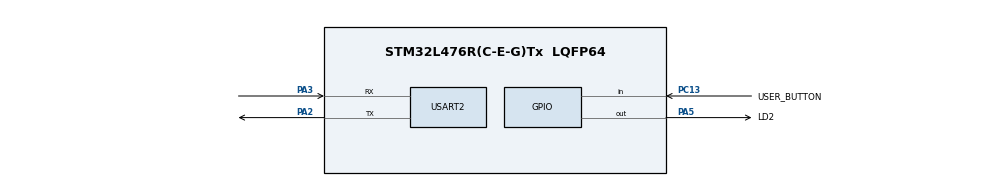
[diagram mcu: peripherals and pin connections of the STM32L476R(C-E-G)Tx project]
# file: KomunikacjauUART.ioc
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Mcu.Family=STM32L4
Mcu.Name=STM32L476R(C-E-G)Tx
Mcu.Package=LQFP64
NVIC.PriorityGroup=NVIC_PRIORITYGROUP_4
PA13\ (JTMS-SWDIO).Mode=Serial_Wire
PA13\ (JTMS-SWDIO).Signal=SYS_JTMS-SWDIO
PA14\ (JTCK-SWCLK).Mode=Serial_Wire
PA14\ (JTCK-SWCLK).Signal=SYS_JTCK-SWCLK
PA2.Mode=Asynchronous
PA2.Signal=USART2_TX
PA3.Mode=Asynchronous
PA3.Signal=USART2_RX
PA5.GPIO_Label=LD2
PA5.GPIO_PuPd=GPIO_PULLUP
PA5.Signal=GPIO_Output
PC13.GPIO_Label=USER_BUTTON
PC13.Signal=GPIO_Input
ProjectManager.HeapSize=0x200
ProjectManager.StackSize=0x400
ProjectManager.TargetToolchain=STM32CubeIDE
RCC.HSE_VALUE=8000000
RCC.HSI_VALUE=16000000
RCC.LSE_VALUE=32768
RCC.MSI_VALUE=4000000
RCC.VCOOutputFreq_Value=32000000
USART2.OverrunDisableParam=ADVFEATURE_OVERRUN_DISABLE
USART2.VirtualMode-Asynchronous=VM_ASYNC
board=custom

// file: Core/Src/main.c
/* USER CODE BEGIN Header */
/**
  ******************************************************************************
  * @file           : main.c
  * @brief          : Main program body
  ******************************************************************************
  * @attention
  *
  * Copyright (c) 2025 STMicroelectronics.
  * All rights reserved.
  *
  * This software is licensed under terms that can be found in the LICENSE file
  * in the root directory of this software component.
  * If no LICENSE file comes with this software, it is provided AS-IS.
  *
  ******************************************************************************
  */
/* USER CODE END Header */
#include "main.h"

/* USER CODE BEGIN Includes */
#include <string.h>
#include <stdio.h>
#include <stdbool.h>
/* USER CODE END Includes */

UART_HandleTypeDef huart2;

void SystemClock_Config(void);
static void MX_GPIO_Init(void);
static void MX_USART2_UART_Init(void);

/* USER CODE BEGIN 0 */
#define LINE_MAX_LENGTH 80

static char line_buffer[LINE_MAX_LENGTH +1];
static uint32_t line_length;
static uint8_t num;

bool is_button_pressed(void)
{
	if(HAL_GPIO_ReadPin(USER_BUTTON_GPIO_Port, USER_BUTTON_Pin) == GPIO_PIN_RESET) {
		return true;
	}
	else {
		return false;
	}
}

void num_iterator(void)
{

		if(is_button_pressed()){
		num++;
		if(num > 10)
		{
			num = 1;
			HAL_GPIO_WritePin(LD2_GPIO_Port, LD2_Pin, GPIO_PIN_SET);
		}
		printf("Zmienna: %d\n ", num);
		while (is_button_pressed());
		}

}

void line_append(uint8_t value)
{
	if(value == '\r' || value == '\n')
	{
		if(line_length > 0)
		{
			line_buffer[line_length] = '\0';
			if(strcmp(line_buffer,"wlacz")==0)
			{
				HAL_GPIO_WritePin(LD2_GPIO_Port, LD2_Pin, GPIO_PIN_SET);
			} else if(strcmp(line_buffer,"wylacz")==0)
			{
				HAL_GPIO_WritePin(LD2_GPIO_Port, LD2_Pin, GPIO_PIN_RESET);
			} else {
			printf("Nieznane polecenie: %s\n ", line_buffer);
			}
			line_length = 0;
		}

	}
	else
	{
		if(line_length >= LINE_MAX_LENGTH) {
			line_length = 0;
		}
		line_buffer[line_length++] = value;
	}
}

int __io_putchar(int ch)
{
	if(ch =='\n')
	{
		uint8_t ch2 = '\r';
		HAL_UART_Transmit(&huart2, (uint8_t*)&ch2, 1, HAL_MAX_DELAY);
	}

	HAL_UART_Transmit(&huart2, (uint8_t*)&ch, 1, HAL_MAX_DELAY);
	return 1;
}

/* USER CODE END 0 */

int main(void)
{

  /* MCU Configuration--------------------------------------------------------*/

  /* Reset of all peripherals, Initializes the Flash interface and the Systick. */
  HAL_Init();

  /* Configure the system clock */
  SystemClock_Config();

  /* Initialize all configured peripherals */
  MX_GPIO_Init();
  MX_USART2_UART_Init();
  /* USER CODE BEGIN 2 */

//  const char message[] = "Hello world!\r\n";
//  HAL_UART_Transmit(&huart2, (uint8_t*)message, strlen(message), HAL_MAX_DELAY);
//  	printf("Hello world! 1");
//    printf("Hello world! 2");
//    printf("Hello world! 3");
//    fflush(stdout);

  /* USER CODE END 2 */

  /* Infinite loop */
  /* USER CODE BEGIN WHILE */
  while (1)
  {

	  uint8_t value;
	  if(HAL_UART_Receive(&huart2, &value, 1, 0) == HAL_OK)
		 line_append(value);
	  num_iterator();
    /* USER CODE END WHILE */

  }
}

void SystemClock_Config(void)
{
  RCC_OscInitTypeDef RCC_OscInitStruct = {0};
  RCC_ClkInitTypeDef RCC_ClkInitStruct = {0};

  /** Configure the main internal regulator output voltage
  */
  if (HAL_PWREx_ControlVoltageScaling(PWR_REGULATOR_VOLTAGE_SCALE1) != HAL_OK)
  {
    Error_Handler();
  }

  /** Initializes the RCC Oscillators according to the specified parameters
  * in the RCC_OscInitTypeDef structure.
  */
  RCC_OscInitStruct.OscillatorType = RCC_OSCILLATORTYPE_MSI;
  RCC_OscInitStruct.MSIState = RCC_MSI_ON;
  RCC_OscInitStruct.MSICalibrationValue = 0;
  RCC_OscInitStruct.MSIClockRange = RCC_MSIRANGE_6;
  RCC_OscInitStruct.PLL.PLLState = RCC_PLL_NONE;
  if (HAL_RCC_OscConfig(&RCC_OscInitStruct) != HAL_OK)
  {
    Error_Handler();
  }

  /** Initializes the CPU, AHB and APB buses clocks
  */
  RCC_ClkInitStruct.ClockType = RCC_CLOCKTYPE_HCLK|RCC_CLOCKTYPE_SYSCLK
                              |RCC_CLOCKTYPE_PCLK1|RCC_CLOCKTYPE_PCLK2;
  RCC_ClkInitStruct.SYSCLKSource = RCC_SYSCLKSOURCE_MSI;
  RCC_ClkInitStruct.AHBCLKDivider = RCC_SYSCLK_DIV1;
  RCC_ClkInitStruct.APB1CLKDivider = RCC_HCLK_DIV1;
  RCC_ClkInitStruct.APB2CLKDivider = RCC_HCLK_DIV1;

  if (HAL_RCC_ClockConfig(&RCC_ClkInitStruct, FLASH_LATENCY_0) != HAL_OK)
  {
    Error_Handler();
  }
}

static void MX_USART2_UART_Init(void)
{

  huart2.Instance = USART2;
  huart2.Init.BaudRate = 115200;
  huart2.Init.WordLength = UART_WORDLENGTH_8B;
  huart2.Init.StopBits = UART_STOPBITS_1;
  huart2.Init.Parity = UART_PARITY_NONE;
  huart2.Init.Mode = UART_MODE_TX_RX;
  huart2.Init.HwFlowCtl = UART_HWCONTROL_NONE;
  huart2.Init.OverSampling = UART_OVERSAMPLING_16;
  huart2.Init.OneBitSampling = UART_ONE_BIT_SAMPLE_DISABLE;
  huart2.AdvancedInit.AdvFeatureInit = UART_ADVFEATURE_RXOVERRUNDISABLE_INIT;
  huart2.AdvancedInit.OverrunDisable = UART_ADVFEATURE_OVERRUN_DISABLE;
  if (HAL_UART_Init(&huart2) != HAL_OK)
  {
    Error_Handler();
  }

}

static void MX_GPIO_Init(void)
{
  GPIO_InitTypeDef GPIO_InitStruct = {0};

  /* GPIO Ports Clock Enable */
  __HAL_RCC_GPIOC_CLK_ENABLE();
  __HAL_RCC_GPIOA_CLK_ENABLE();

  /*Configure GPIO pin Output Level */
  HAL_GPIO_WritePin(LD2_GPIO_Port, LD2_Pin, GPIO_PIN_RESET);

  /*Configure GPIO pin : USER_BUTTON_Pin */
  GPIO_InitStruct.Pin = USER_BUTTON_Pin;
  GPIO_InitStruct.Mode = GPIO_MODE_INPUT;
  GPIO_InitStruct.Pull = GPIO_NOPULL;
  HAL_GPIO_Init(USER_BUTTON_GPIO_Port, &GPIO_InitStruct);

  /*Configure GPIO pin : LD2_Pin */
  GPIO_InitStruct.Pin = LD2_Pin;
  GPIO_InitStruct.Mode = GPIO_MODE_OUTPUT_PP;
  GPIO_InitStruct.Pull = GPIO_PULLUP;
  GPIO_InitStruct.Speed = GPIO_SPEED_FREQ_LOW;
  HAL_GPIO_Init(LD2_GPIO_Port, &GPIO_InitStruct);

}

void Error_Handler(void)
{
  __disable_irq();
  while (1)
  {
  }
}
